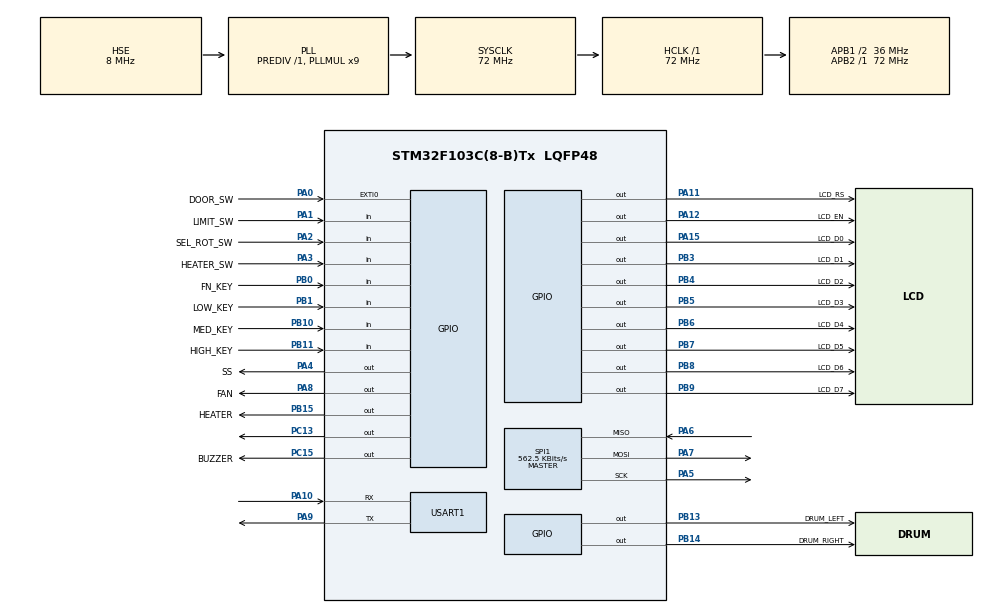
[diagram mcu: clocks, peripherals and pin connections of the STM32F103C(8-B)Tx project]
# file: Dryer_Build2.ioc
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Mcu.Family=STM32F1
Mcu.Name=STM32F103C(8-B)Tx
Mcu.Package=LQFP48
NVIC.EXTI0_IRQn=true\:0\:0\:false\:false\:true\:true\:true\:true
NVIC.PriorityGroup=NVIC_PRIORITYGROUP_4
NVIC.TIM4_IRQn=true\:1\:0\:true\:false\:true\:true\:true\:true
PA0-WKUP.GPIO_Label=DOOR_SW
PA0-WKUP.GPIO_ModeDefaultEXTI=GPIO_MODE_IT_RISING_FALLING
PA0-WKUP.GPIO_PuPd=GPIO_PULLUP
PA0-WKUP.Signal=GPXTI0
PA1.GPIO_Label=LIMIT_SW
PA1.GPIO_PuPd=GPIO_PULLUP
PA1.Signal=GPIO_Input
PA10.Mode=Asynchronous
PA10.Signal=USART1_RX
PA11.GPIO_Label=LCD_RS
PA11.GPIO_PuPd=GPIO_PULLDOWN
PA11.GPIO_Speed=GPIO_SPEED_FREQ_HIGH
PA11.PinState=GPIO_PIN_RESET
PA11.Signal=GPIO_Output
PA12.GPIO_Label=LCD_EN
PA12.GPIO_PuPd=GPIO_PULLDOWN
PA12.GPIO_Speed=GPIO_SPEED_FREQ_HIGH
PA12.PinState=GPIO_PIN_RESET
PA12.Signal=GPIO_Output
PA13.Mode=Serial_Wire
PA13.Signal=SYS_JTMS-SWDIO
PA14.Mode=Serial_Wire
PA14.Signal=SYS_JTCK-SWCLK
PA15.GPIO_Label=LCD_D0
PA15.GPIO_PuPd=GPIO_PULLDOWN
PA15.GPIO_Speed=GPIO_SPEED_FREQ_HIGH
PA15.Signal=GPIO_Output
PA2.GPIO_Label=SEL_ROT_SW
PA2.GPIO_PuPd=GPIO_PULLUP
PA2.Signal=GPIO_Input
PA3.GPIO_Label=HEATER_SW
PA3.GPIO_PuPd=GPIO_PULLUP
PA3.Signal=GPIO_Input
PA4.GPIO_Label=SS
PA4.GPIO_PuPd=GPIO_PULLDOWN
PA4.GPIO_Speed=GPIO_SPEED_FREQ_HIGH
PA4.Signal=GPIO_Output
PA5.Mode=Full_Duplex_Master
PA5.Signal=SPI1_SCK
PA6.Mode=Full_Duplex_Master
PA6.Signal=SPI1_MISO
PA7.Mode=Full_Duplex_Master
PA7.Signal=SPI1_MOSI
PA8.GPIO_Label=FAN
PA8.GPIO_PuPd=GPIO_PULLDOWN
PA8.Signal=GPIO_Output
PA9.Mode=Asynchronous
PA9.Signal=USART1_TX
PB0.GPIO_Label=FN_KEY
PB0.GPIO_PuPd=GPIO_PULLUP
PB0.Signal=GPIO_Input
PB1.GPIO_Label=LOW_KEY
PB1.GPIO_PuPd=GPIO_PULLUP
PB1.Signal=GPIO_Input
PB10.GPIO_Label=MED_KEY
PB10.GPIO_PuPd=GPIO_PULLUP
PB10.Signal=GPIO_Input
PB11.GPIO_Label=HIGH_KEY
PB11.GPIO_PuPd=GPIO_PULLUP
PB11.Signal=GPIO_Input
PB13.GPIO_Label=DRUM_LEFT
PB13.GPIO_PuPd=GPIO_PULLDOWN
PB13.Signal=GPIO_Output
PB14.GPIO_Label=DRUM_RIGHT
PB14.GPIO_PuPd=GPIO_PULLDOWN
PB14.Signal=GPIO_Output
PB15.GPIO_Label=HEATER
PB15.GPIO_PuPd=GPIO_PULLDOWN
PB15.Signal=GPIO_Output
PB3.GPIO_Label=LCD_D1
PB3.GPIO_PuPd=GPIO_PULLDOWN
PB3.GPIO_Speed=GPIO_SPEED_FREQ_HIGH
PB3.Signal=GPIO_Output
PB4.GPIO_Label=LCD_D2
PB4.GPIO_PuPd=GPIO_PULLDOWN
PB4.GPIO_Speed=GPIO_SPEED_FREQ_HIGH
PB4.Signal=GPIO_Output
PB5.GPIO_Label=LCD_D3
PB5.GPIO_PuPd=GPIO_PULLDOWN
PB5.GPIO_Speed=GPIO_SPEED_FREQ_HIGH
PB5.Signal=GPIO_Output
PB6.GPIO_Label=LCD_D4
PB6.GPIO_PuPd=GPIO_PULLDOWN
PB6.GPIO_Speed=GPIO_SPEED_FREQ_HIGH
PB6.Signal=GPIO_Output
PB7.GPIO_Label=LCD_D5
PB7.GPIO_PuPd=GPIO_PULLDOWN
PB7.GPIO_Speed=GPIO_SPEED_FREQ_HIGH
PB7.Signal=GPIO_Output
PB8.GPIO_Label=LCD_D6
PB8.GPIO_PuPd=GPIO_PULLDOWN
PB8.GPIO_Speed=GPIO_SPEED_FREQ_HIGH
PB8.PinState=GPIO_PIN_RESET
PB8.Signal=GPIO_Output
PB9.GPIO_Label=LCD_D7
PB9.GPIO_PuPd=GPIO_PULLDOWN
PB9.GPIO_Speed=GPIO_SPEED_FREQ_HIGH
PB9.Signal=GPIO_Output
PC13-TAMPER-RTC.PinState=GPIO_PIN_SET
PC13-TAMPER-RTC.Signal=GPIO_Output
PC15-OSC32_OUT.GPIO_Label=BUZZER
PC15-OSC32_OUT.GPIO_PuPd=GPIO_PULLDOWN
PC15-OSC32_OUT.Signal=GPIO_Output
PD0-OSC_IN.Mode=HSE-External-Oscillator
PD0-OSC_IN.Signal=RCC_OSC_IN
PD1-OSC_OUT.Mode=HSE-External-Oscillator
PD1-OSC_OUT.Signal=RCC_OSC_OUT
ProjectManager.HeapSize=0x200
ProjectManager.StackSize=0x400
ProjectManager.TargetToolchain=STM32CubeIDE
RCC.AHBFreq_Value=72000000
RCC.APB1CLKDivider=RCC_HCLK_DIV2
RCC.APB1Freq_Value=36000000
RCC.APB1TimFreq_Value=72000000
RCC.APB2Freq_Value=72000000
RCC.APB2TimFreq_Value=72000000
RCC.HCLKFreq_Value=72000000
RCC.PLLMUL=RCC_PLL_MUL9
RCC.PLLSourceVirtual=RCC_PLLSOURCE_HSE
RCC.SYSCLKFreq_VALUE=72000000
RCC.SYSCLKSource=RCC_SYSCLKSOURCE_PLLCLK
RCC.USBFreq_Value=72000000
SPI1.BaudRatePrescaler=SPI_BAUDRATEPRESCALER_128
SPI1.CalculateBaudRate=562.5 KBits/s
SPI1.Direction=SPI_DIRECTION_2LINES
SPI1.Mode=SPI_MODE_MASTER
SPI1.VirtualType=VM_MASTER
TIM4.AutoReloadPreload=TIM_AUTORELOAD_PRELOAD_DISABLE
TIM4.CounterMode=TIM_COUNTERMODE_UP
TIM4.Period=10000-1
TIM4.Prescaler=7200
TIM4.TIM_MasterOutputTrigger=TIM_TRGO_UPDATE
USART1.VirtualMode=VM_ASYNC
VP_TIM4_VS_ClockSourceINT.Mode=Internal
board=custom

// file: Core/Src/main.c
/* USER CODE BEGIN Header */
/**
 ******************************************************************************
 * @file           : main.c
 * @brief          : Main program body
 ******************************************************************************
 * @attention
 *
 * Copyright (c) 2023 STMicroelectronics.
 * All rights reserved.
 *
 * This software is licensed under terms that can be found in the LICENSE file
 * in the root directory of this software component.
 * If no LICENSE file comes with this software, it is provided AS-IS.
 *
 ******************************************************************************
 */
/* USER CODE END Header */
#include "main.h"
#include "spi.h"
#include "tim.h"
#include "usart.h"
#include "gpio.h"

/* USER CODE BEGIN Includes */
#include "machine.h"
#include "eeprom.h"
/* USER CODE END Includes */

/* USER CODE BEGIN PTD */
typedef enum {
	CURSOR_DISABLE, SET_HEAT_TIMER, SET_COOL_TIMER, SET_TEMP,
} Cursor_Pos_t;

/* USER CODE END PTD */

/* USER CODE BEGIN PV */
uint16_t VirtAddVarTab[10];
uint16_t val_arr[10] = { 600, 300, 40, 1200, 300, 70, 1800, 300, 90, 0 };
uint16_t VarIndex;

MachineInit_t dryer;

uint8_t door_open_flag = 0U; //Indicates Door open or close (1 for open, 0 for close)
uint8_t door_open_evt = 0U; //to excecute door open routine once

uint8_t timer_stop_evt = 0U; //to stop timer routine once
uint8_t timer_start_evt = 0U; //to start timer routine once

uint8_t buzzer_evt = 0U; //to excecute buzzer routine once

uint8_t lcd_update_evt = 0U; //to excecute LCD Update routine once

uint8_t op_update_evt = 0U; //to excecute Output Update routine once

uint8_t limit_timeout = 30U; //to store limit switch timeout default value
uint8_t limit_timeout_flag = 0U; //Indicates Limit Switch Timeout

uint8_t coil_open_flag = 0U; //Indicates Heater Coil open or close (1 for open, 0 for close)

uint8_t rot_left_cunt = 30U; //to store left side count value
uint8_t rot_right_cunt = 0U; //to store right side count value
uint8_t pasue_cunt = 0U; //to store delay count value for flip-flop

uint8_t rot_sw_state = 0U; //to store Rotation Select Switch
uint8_t flipflop = 0U; //to store Flip-Flop state 0 for L-to-R, 1 for R-to-L

int cur_temp = -1; //to store current temperature value
uint8_t otp = 1; //not in use
uint8_t scaned_key = NO_KEY_PRESSED; //to store any key pressed value

LCDPageTypeDef cur_page; //Current Page of LCD
LCDPageTypeDef last_page; //Store Last Page Recored

/* USER CODE END PV */

void SystemClock_Config(void);

/* USER CODE BEGIN 0 */
/*For Debug use printf to Print data on UART*/
int __io_putchar(int ch) {
	HAL_UART_Transmit(&huart1, (uint8_t*) &ch, 1, 10);
	return ch;
}

void setting_root_page(void) {
	printf("Setting Mode\r\n");

	Cursor_Pos_t cursor_pos = CURSOR_DISABLE;
	cur_page = SETTING_PAGE;
	lcd_update_evt = 1;

	while (1) {

		if (lcd_update_evt) {
			//printf("Page: %d\r\n",cur_page);
			lcd_update();
			if(cursor_pos == CURSOR_DISABLE){
				lcd_cursor(0);
			}else if(cursor_pos == SET_HEAT_TIMER){
				lcd_set_cursor(3, 0);
				lcd_cursor(1);
			}else if(cursor_pos == SET_COOL_TIMER){
				lcd_set_cursor(12, 0);
				lcd_cursor(1);
			}else if(cursor_pos == SET_TEMP){
				lcd_set_cursor(-1, 2);
				lcd_cursor(1);
			}
			lcd_update_evt = 0U;
		}

		if (cur_page == SETTING_PAGE) {
			scaned_key = scan_keypad();
			switch (scaned_key) {
			case NO_KEY_PRESSED:
				break;

			case LOW_KEY_PRESSED:
				dryer.mode = LOW_LEVEL;
				dryer.heatTime = val_arr[0];
				dryer.coolTime = val_arr[1];
				dryer.setTemp = val_arr[2];
				cur_page = LOW_LEVEL_PAGE;
				cursor_pos = SET_HEAT_TIMER;
				lcd_update_evt = 1U;
				op_update_evt = 1U;
				printf("LOW LEVEL\r\n");
				break;

			case MED_KEY_PRESSED:
				dryer.mode = MED_LEVEL;
				dryer.heatTime = val_arr[3];
				dryer.coolTime = val_arr[4];
				dryer.setTemp = val_arr[5];
				cur_page = MED_LEVEL_PAGE;
				cursor_pos = SET_HEAT_TIMER;
				lcd_update_evt = 1U;
				op_update_evt = 1U;
				printf("MED_LEVEL\r\n");
				break;

			case HIGH_KEY_PRESSED:
				dryer.mode = HIGH_LEVEL;
				dryer.heatTime = val_arr[6];
				dryer.coolTime = val_arr[7];
				dryer.setTemp = val_arr[8];
				cur_page = HIGH_LEVEL_PAGE;
				cursor_pos = SET_HEAT_TIMER;
				lcd_update_evt = 1U;
				op_update_evt = 1U;
				printf("HIGH_LEVEL\r\n");
				break;

			case FN_KEY_PRESSED:
				/*Cancel Function*/
				return;
			}
			scaned_key = NO_KEY_PRESSED;
		} else {
			scaned_key = scan_keypad();
			switch (scaned_key) {
			case NO_KEY_PRESSED:
				break;
			case LOW_KEY_PRESSED:
				if ((cursor_pos == SET_HEAT_TIMER) && (dryer.heatTime > 60U)) {
					lcd_update_evt = 1;
					dryer.heatTime -= 60U;
				} else if ((cursor_pos == SET_COOL_TIMER)
						&& (dryer.coolTime > 60U)) {
					lcd_update_evt = 1;
					dryer.coolTime -= 60U;
				} else if ((cursor_pos == SET_TEMP) && (dryer.setTemp > 30U)) {
					lcd_update_evt = 1;
					dryer.setTemp -= 1U;
				}
				break;
			case MED_KEY_PRESSED:
				/*Roll Back*/
				if (cursor_pos == SET_TEMP) {
					lcd_update_evt = 1;
					cursor_pos = SET_HEAT_TIMER;
				} else {
					lcd_update_evt = 1;
					cursor_pos++;
				}
				break;
			case HIGH_KEY_PRESSED:
				if ((cursor_pos == SET_HEAT_TIMER)
						&& (dryer.heatTime < 3600U)) {
					dryer.heatTime += 60U;
					lcd_update_evt = 1;
				} else if ((cursor_pos == SET_COOL_TIMER)
						&& (dryer.coolTime < 3600U)) {
					dryer.coolTime += 60U;
					lcd_update_evt = 1;
				} else if ((cursor_pos == SET_TEMP) && (dryer.setTemp < 90U)) {
					dryer.setTemp += 1U;
					lcd_update_evt = 1;
				}
				break;
			case FN_KEY_PRESSED:
				/*TODO Cancel Function*/
				/*
				 * Save data
				 * go to setting mode page
				 */
				cur_page = SETTING_PAGE;
				cursor_pos = CURSOR_DISABLE;
				lcd_update_evt = 1;

				if (dryer.mode == LOW_LEVEL) {
					val_arr[0] = dryer.heatTime;
					val_arr[1] = dryer.coolTime;
					val_arr[2] = dryer.setTemp;

					for (VarIndex = 0; VarIndex < 3; VarIndex++) {
						/* Sequence 1 */
						if ((EE_WriteVariable(VirtAddVarTab[VarIndex],
								val_arr[VarIndex])) != HAL_OK) {
							Error_Handler();
						}
					}

				} else if (dryer.mode == MED_LEVEL) {
					val_arr[3] = dryer.heatTime;
					val_arr[4] = dryer.coolTime;
					val_arr[5] = dryer.setTemp;

					for (VarIndex = 3; VarIndex < 6; VarIndex++) {
						/* Sequence 2 */
						if ((EE_WriteVariable(VirtAddVarTab[VarIndex],
								val_arr[VarIndex])) != HAL_OK) {
							Error_Handler();
						}

					}
				} else if (dryer.mode == HIGH_LEVEL) {
					val_arr[6] = dryer.heatTime;
					val_arr[7] = dryer.coolTime;
					val_arr[8] = dryer.setTemp;

					for (VarIndex = 6; VarIndex < 9; VarIndex++) {
						/* Sequence 3 */
						if ((EE_WriteVariable(VirtAddVarTab[VarIndex],
								val_arr[VarIndex])) != HAL_OK) {
							Error_Handler();
						}
					}
				}
				break;
			}
			scaned_key = NO_KEY_PRESSED;
		}
	}
}

/* USER CODE END 0 */

int main(void) {

	/* MCU Configuration--------------------------------------------------------*/

	/* Reset of all peripherals, Initializes the Flash interface and the Systick. */
	HAL_Init();

	/* Configure the system clock */
	SystemClock_Config();

	/* Initialize all configured peripherals */
	MX_GPIO_Init();
	MX_USART1_UART_Init();
	MX_TIM4_Init();
	MX_SPI1_Init();
	/* USER CODE BEGIN 2 */
	HAL_FLASH_Unlock();

	/* EEPROM Init */
	if (EE_Init() != HAL_OK) {
		Error_Handler();
	}

// Fill EEPROM variables addresses
	for (VarIndex = 1; VarIndex <= 10; VarIndex++) {
		VirtAddVarTab[VarIndex - 1] = VarIndex;
	}

	uint16_t data_write = 0;
	if ((EE_ReadVariable(VirtAddVarTab[9], (uint16_t*) &data_write))
			!= HAL_OK) {
		data_write = 1U;
	}

	if (data_write == 1U) {
		printf("Writing.....\r\n");
		for (VarIndex = 0; VarIndex < 10; VarIndex++) {
			if ((EE_WriteVariable(VirtAddVarTab[VarIndex], val_arr[VarIndex]))
					!= HAL_OK) {
				Error_Handler();
			}
		}
	}

//	// Store Values in EEPROM emulation
//	for (VarIndex = 0; VarIndex < 9; VarIndex++) {
//		/* Sequence 1 */
//		if ((EE_WriteVariable(VirtAddVarTab[VarIndex], val_arr[VarIndex]))
//				!= HAL_OK) {
//			Error_Handler();
//		}
//	}
//
// Read values

	for (VarIndex = 0; VarIndex < 10; VarIndex++) {
		if ((EE_ReadVariable(VirtAddVarTab[VarIndex],
				(uint16_t*) &val_arr[VarIndex])) != HAL_OK) {
			printf("EEPROM Read Error\r\n");
			Error_Handler();
		}
	}

	for (VarIndex = 0; VarIndex < 10; VarIndex++) {
		printf("%d -----> %d\r\n", VirtAddVarTab[VarIndex],
				val_arr[VarIndex]);
	}

	lcd_init(0);
	lcd_begin(16, 4, 0);

	lcd_logo();

	unsigned int current_time = HAL_GetTick();
	unsigned int btn_current_time = HAL_GetTick();

	while (HAL_GetTick() - current_time < 3000U) {
		uint8_t btn_state = HAL_GPIO_ReadPin(FN_KEY_GPIO_Port, FN_KEY_Pin);
		if (btn_state == LOW) {
			if (HAL_GetTick() - btn_current_time > 2000) {
				setting_root_page();
			}
		} else {
			btn_current_time = HAL_GetTick();
		}
	}

	for (VarIndex = 0; VarIndex < 10; VarIndex++) {
		if ((EE_ReadVariable(VirtAddVarTab[VarIndex],
				(uint16_t*) &val_arr[VarIndex])) != HAL_OK) {
			printf("EEPROM Read Error\r\n");
			Error_Handler();
		}
	}

	dryer.state = INIT;
	dryer.mode = NO_MODE;

	if (HAL_GPIO_ReadPin(DOOR_SW_GPIO_Port, DOOR_SW_Pin) == HIGH) {
		door_open_flag = 1U;
		cur_page = DOOR_OPEN_PAGE;
	} else {
		cur_page = INIT_PAGE;
	}

	lcd_clear();
	lcd_update();
	/* USER CODE END 2 */

	/* Infinite loop */
	while (1) {

		/* USER CODE BEGIN 3 */
		/**********************************************************************************************************
		 **************************************** LCD SCREEN UPDATE RUTINE ****************************************
		 **********************************************************************************************************/
		if (lcd_update_evt) {
			//printf("Page: %d\r\n",cur_page);
			lcd_update();
			lcd_update_evt = 0U;
		}

		/***************************************************************************************************************
		 ******************************************* TIMER EVENT RUTINE ************************************************
		 ***************************************************************************************************************/
		if (timer_stop_evt) {
			//printf("Timer Stoped\r\n");
			HAL_TIM_Base_Stop_IT(&htim4);
			timer_stop_evt = 0;

		} else if ((timer_start_evt) && (dryer.state == START)) {
			//printf("Timer Started\r\n");
			HAL_TIM_Base_Start_IT(&htim4);
			timer_start_evt = 0;
		}

		/***************************************************************************************************************
		 ********************************************* KEYBOARD SCANNING ***********************************************
		 ********************************** INCREMENT DECREMENT OF TIMER AND MODE SET **********************************
		 ***************************************************************************************************************/
		if (!door_open_flag && !coil_open_flag && !limit_timeout_flag) {
			//printf("Scaning...\r\n");
			scaned_key = scan_keypad();

			if (dryer.state == START) {

				switch (scaned_key) {
				case NO_KEY_PRESSED:
					break;
				case LOW_KEY_PRESSED:
					lcd_update_evt = 1U;
					if (dryer.cycle == HEAT_CYCLE && dryer.heatTime > 60U) {
						dryer.heatTime -= 60U;
						printf("HeatTime = %d\r\n", dryer.heatTime);
					} else if (dryer.cycle == COOL_CYCLE
							&& dryer.coolTime > 60U) {
						dryer.coolTime -= 60U;
						printf("CoolTime = %d\r\n", dryer.coolTime);
					}
					break;
				case MED_KEY_PRESSED:
					lcd_update_evt = 1U;
					dryer.state = INIT;
					dryer.mode = NO_MODE;
					cur_page = INIT_PAGE;
					timer_stop_evt = 1U;
					HAL_GPIO_WritePin(BUZZER_GPIO_Port, BUZZER_Pin, LOW);
					HAL_GPIO_WritePin(FAN_GPIO_Port, FAN_Pin, LOW);
					HAL_GPIO_WritePin(DRUM_LEFT_GPIO_Port, DRUM_LEFT_Pin,
					LOW);
					HAL_GPIO_WritePin(DRUM_RIGHT_GPIO_Port, DRUM_RIGHT_Pin,
					LOW);
					HAL_GPIO_WritePin(HEATER_GPIO_Port, HEATER_Pin, LOW);
					break;
				case HIGH_KEY_PRESSED:
					lcd_update_evt = 1U;
					if (dryer.cycle == HEAT_CYCLE) {
						if (dryer.mode == LOW_LEVEL) {
							if (dryer.heatTime < 1800U) {
								dryer.heatTime += 60U;
							}
						} else if (dryer.mode == MED_LEVEL) {
							if (dryer.heatTime < 2400U) {
								dryer.heatTime += 60U;
							}
						} else if (dryer.mode == HIGH_LEVEL) {
							if (dryer.heatTime < 3000U) {
								dryer.heatTime += 60U;
							}
						}
						printf("HeatTime = %d\r\n", dryer.heatTime);
					} else if (dryer.cycle == COOL_CYCLE) {
						if (dryer.coolTime < 900U)
							dryer.coolTime += 60U;
						printf("CoolTime = %d\r\n", dryer.coolTime);
					}
					break;
				case FN_KEY_PRESSED:
					lcd_update_evt = 1U;
					dryer.heatTime = 0U;
					dryer.cycle = COOL_CYCLE;
					printf("HeatTime = %d\r\n", dryer.heatTime);
					printf("CoolTime = %d\r\n", dryer.coolTime);
					break;
				}
				scaned_key = NO_KEY_PRESSED;
			} else if (dryer.state == INIT) {

				switch (scaned_key) {
				case NO_KEY_PRESSED:
					break;

				case LOW_KEY_PRESSED:
					dryer.state = START;
					dryer.mode = LOW_LEVEL;
					dryer.heatTime = val_arr[0];
					dryer.coolTime = val_arr[1];
					dryer.setTemp = val_arr[2];
					dryer.beepTime = 30U;
					dryer.cycle = HEAT_CYCLE;
					rot_left_cunt = 30U;
					rot_right_cunt = 0U;
					pasue_cunt = 0U;
					timer_start_evt = 1U;
					cur_page = LOW_LEVEL_PAGE;
					lcd_update_evt = 1U;
					op_update_evt = 1U;
					printf("LOW LEVEL\r\n");
					break;

				case MED_KEY_PRESSED:
					dryer.state = START;
					dryer.mode = MED_LEVEL;
					dryer.heatTime = val_arr[3];
					dryer.coolTime = val_arr[4];
					dryer.setTemp = val_arr[5];
					dryer.beepTime = 30U;
					dryer.cycle = HEAT_CYCLE;
					rot_left_cunt = 30U;
					rot_right_cunt = 0U;
					pasue_cunt = 0U;
					timer_start_evt = 1U;
					cur_page = MED_LEVEL_PAGE;
					lcd_update_evt = 1U;
					op_update_evt = 1U;
					printf("MED_LEVEL\r\n");
					break;

				case HIGH_KEY_PRESSED:
					dryer.state = START;
					dryer.mode = HIGH_LEVEL;
					dryer.heatTime = val_arr[6];
					dryer.coolTime = val_arr[7];
					dryer.setTemp = val_arr[8];
					dryer.beepTime = 30U;
					dryer.cycle = HEAT_CYCLE;
					rot_left_cunt = 30U;
					rot_right_cunt = 0U;
					pasue_cunt = 0U;
					timer_start_evt = 1U;
					cur_page = HIGH_LEVEL_PAGE;
					lcd_update_evt = 1U;
					op_update_evt = 1U;
					printf("HIGH_LEVEL\r\n");
					break;
				}
				scaned_key = NO_KEY_PRESSED;
			} else if (dryer.state == COMPLETE) {
				if (scaned_key == MED_KEY_PRESSED) {
					lcd_update_evt = 1U;
					dryer.state = INIT;
					dryer.mode = NO_MODE;
					cur_page = INIT_PAGE;
					timer_stop_evt = 1U;
					HAL_GPIO_WritePin(BUZZER_GPIO_Port, BUZZER_Pin, LOW);
					HAL_GPIO_WritePin(FAN_GPIO_Port, FAN_Pin, LOW);
					HAL_GPIO_WritePin(DRUM_LEFT_GPIO_Port, DRUM_LEFT_Pin,
					LOW);
					HAL_GPIO_WritePin(DRUM_RIGHT_GPIO_Port, DRUM_RIGHT_Pin,
					LOW);
					HAL_GPIO_WritePin(HEATER_GPIO_Port, HEATER_Pin, LOW);
				}
				scaned_key = NO_KEY_PRESSED;
			}
		}

		if (door_open_evt) {
			static volatile uint8_t temp_pin_state = 0U;

			temp_pin_state = HAL_GPIO_ReadPin(DOOR_SW_GPIO_Port,
			DOOR_SW_Pin);
//printf("Pin: %d\r\n",temp_pin_state);

			if (temp_pin_state == HIGH) {

				if (dryer.state == COMPLETE) {
					timer_stop_evt = 1U;
					dryer.beepTime = 0U;
					dryer.state = INIT;
					dryer.mode = NO_MODE;
				}

				door_open_flag = 1U;
				timer_stop_evt = 1U;
				cur_page = DOOR_OPEN_PAGE;
				lcd_update_evt = 1U;
				dryer.state = STOP;

				HAL_GPIO_WritePin(BUZZER_GPIO_Port, BUZZER_Pin, LOW);
				HAL_GPIO_WritePin(FAN_GPIO_Port, FAN_Pin, LOW);
				HAL_GPIO_WritePin(DRUM_LEFT_GPIO_Port, DRUM_LEFT_Pin, LOW);
				HAL_GPIO_WritePin(DRUM_RIGHT_GPIO_Port, DRUM_RIGHT_Pin,
				LOW);
				HAL_GPIO_WritePin(HEATER_GPIO_Port, HEATER_Pin, LOW);

			} else {
				if (!limit_timeout_flag) {
					switch (dryer.mode) {
					case NO_MODE:
						cur_page = INIT_PAGE;
						dryer.state = INIT;
						break;
					case LOW_LEVEL:
						cur_page = LOW_LEVEL_PAGE;
						dryer.state = START;
						timer_start_evt = 1U;
						break;
					case MED_LEVEL:
						cur_page = MED_LEVEL_PAGE;
						dryer.state = START;
						timer_start_evt = 1U;
						break;
					case HIGH_LEVEL:
						cur_page = HIGH_LEVEL_PAGE;
						dryer.state = START;
						timer_start_evt = 1U;
						break;
					}
				} else
					cur_page = LIMIT_SW_ERR_PAGE;
				lcd_update_evt = 1U;
				door_open_flag = 0U;
			}
			door_open_evt = 0U;
		}

		/*************************************************************************************************************
		 *************************************************HERTER COIL CHECK*******************************************
		 *************************************************************************************************************/
		if (!door_open_flag && !limit_timeout_flag && dryer.state != COMPLETE) {

			if (is_coil_open()) {

				coil_open_flag = 1U;
				timer_stop_evt = 1U;
				cur_page = HEATER_COIL_PAGE;
				lcd_update_evt = 1U;
				dryer.state = STOP;

				HAL_GPIO_WritePin(BUZZER_GPIO_Port, BUZZER_Pin, LOW);
				HAL_GPIO_WritePin(FAN_GPIO_Port, FAN_Pin, LOW);
				HAL_GPIO_WritePin(DRUM_LEFT_GPIO_Port, DRUM_LEFT_Pin, LOW);
				HAL_GPIO_WritePin(DRUM_RIGHT_GPIO_Port, DRUM_RIGHT_Pin,
				LOW);
				HAL_GPIO_WritePin(HEATER_GPIO_Port, HEATER_Pin, LOW);

			} else {
				coil_open_flag = 0U;
				if (dryer.state == STOP) {
					switch (dryer.mode) {
					case NO_MODE:
						cur_page = INIT_PAGE;
						dryer.state = INIT;
						break;
					case LOW_LEVEL:
						cur_page = LOW_LEVEL_PAGE;
						dryer.state = START;
						timer_start_evt = 1U;
						break;
					case MED_LEVEL:
						cur_page = MED_LEVEL_PAGE;
						dryer.state = START;
						timer_start_evt = 1U;
						break;
					case HIGH_LEVEL:
						cur_page = HIGH_LEVEL_PAGE;
						dryer.state = START;
						timer_start_evt = 1U;
						break;
					}
					lcd_update_evt = 1U;
				}
			}
		}

		/***************************************************************************************************************
		 ******************************************* LIMIT SWITCH ERROR RUTINE ************************************************
		 ***************************************************************************************************************/
		if (!door_open_flag && !coil_open_flag && !limit_timeout_flag) {
			if (dryer.state == START && limit_timeout == 0U) {
				limit_timeout_flag = 1U;
				lcd_update_evt = 1U;
				timer_stop_evt = 1U;

				dryer.state = STOP;
				dryer.mode = NO_MODE;
				cur_page = LIMIT_SW_ERR_PAGE;

				HAL_GPIO_WritePin(BUZZER_GPIO_Port, BUZZER_Pin, LOW);
				HAL_GPIO_WritePin(FAN_GPIO_Port, FAN_Pin, LOW);
				HAL_GPIO_WritePin(DRUM_LEFT_GPIO_Port, DRUM_LEFT_Pin, LOW);
				HAL_GPIO_WritePin(DRUM_RIGHT_GPIO_Port, DRUM_RIGHT_Pin,
				LOW);
				HAL_GPIO_WritePin(HEATER_GPIO_Port, HEATER_Pin, LOW);
			}
		} else if (!door_open_flag && !coil_open_flag && limit_timeout_flag) {
			scaned_key = scan_keypad();
			if (scaned_key == MED_KEY_PRESSED) {
				dryer.state = INIT;
				cur_page = INIT_PAGE;
				limit_timeout = 30U;
				lcd_update_evt = 1U;
				limit_timeout_flag = 0U;
			}
		}

		/**********************************************************************************************************
		 *********************** CONTROL MACHINE IN START/STOP/COMPLETE PROCESS STATE *****************************
		 * @START STATE
		 * 		->CONTROLS FAN, DRUM MOTORS, HEATER SWTICH
		 * 		->READ TEMPRETURE AND MAINTAIN HEATER
		 * @COMPLETE STATE
		 * 		->TURNS OFF FAN, DRUM MOTORS, HEATER
		 * 		->TRUNS ON/OFF BEEP EVERY 3s FOR 30s
		 * 		->WATCHS DOOR OPEN
		 **********************************************************************************************************/
		if (!door_open_flag && !coil_open_flag && !limit_timeout_flag
				&& op_update_evt) {

			if (dryer.state == START) {

				HAL_GPIO_WritePin(FAN_GPIO_Port, FAN_Pin, HIGH);

//				 if (otp) {
//				 	printf("HeaterTime = %d\r\n", dryer.heatTime);
//				 	printf("CoolTime = %d\r\n", dryer.coolTime);
//				 	printf("ROT_LEFT = %d\r\n", rot_left_cunt);
//				 	printf("PASUE = %d\r\n", pasue_cunt);
//				 	printf("ROT_RIGHT = %d\r\n", rot_right_cunt);
//				 	otp = 0;
//				 }

				//start Flip Flop
				if (pasue_cunt > 0) {
					HAL_GPIO_WritePin(DRUM_LEFT_GPIO_Port, DRUM_LEFT_Pin,
					LOW);
					HAL_GPIO_WritePin(DRUM_RIGHT_GPIO_Port, DRUM_RIGHT_Pin,
					LOW);
				} else if (rot_left_cunt > 0) {
					HAL_GPIO_WritePin(DRUM_LEFT_GPIO_Port, DRUM_LEFT_Pin,
					HIGH);
					HAL_GPIO_WritePin(DRUM_RIGHT_GPIO_Port, DRUM_RIGHT_Pin,
					LOW);
				} else if (rot_right_cunt > 0) {
					HAL_GPIO_WritePin(DRUM_LEFT_GPIO_Port, DRUM_LEFT_Pin,
					LOW);
					HAL_GPIO_WritePin(DRUM_RIGHT_GPIO_Port, DRUM_RIGHT_Pin,
					HIGH);
				}

				cur_temp = (int) Max6675_Read_Temp(); //takes time
				//Maintain Heater
				if (dryer.cycle == HEAT_CYCLE && !limit_sw_open()) {
					if (cur_temp == -1 || cur_temp == 0) {
						HAL_GPIO_WritePin(HEATER_GPIO_Port, HEATER_Pin,
						LOW);
					} else if ((cur_temp > (dryer.setTemp + 2))
							|| (cur_temp <= 0)) {
						HAL_GPIO_WritePin(HEATER_GPIO_Port, HEATER_Pin,
						LOW);
					} else if ((cur_temp < (dryer.setTemp - 5))
							&& (cur_temp > 0)) {
						HAL_GPIO_WritePin(HEATER_GPIO_Port, HEATER_Pin,
						HIGH);
					}
				} else {
					HAL_GPIO_WritePin(HEATER_GPIO_Port, HEATER_Pin, LOW);
				}
			} else if (dryer.state == COMPLETE) {

				if (dryer.beepTime == 0) {
					HAL_GPIO_WritePin(BUZZER_GPIO_Port, BUZZER_Pin, LOW);
					cur_page = INIT_PAGE;
					lcd_update_evt = 1U;
					timer_stop_evt = 1U;
					dryer.state = INIT;
					dryer.mode = NO_MODE;
				} else {
					HAL_GPIO_TogglePin(BUZZER_GPIO_Port, BUZZER_Pin);
				}
				HAL_GPIO_WritePin(FAN_GPIO_Port, FAN_Pin, LOW);
				HAL_GPIO_WritePin(DRUM_LEFT_GPIO_Port, DRUM_LEFT_Pin, LOW);
				HAL_GPIO_WritePin(DRUM_RIGHT_GPIO_Port, DRUM_RIGHT_Pin,
				LOW);
				HAL_GPIO_WritePin(HEATER_GPIO_Port, HEATER_Pin, LOW);

			} else {
				//beep off
				HAL_GPIO_WritePin(BUZZER_GPIO_Port, BUZZER_Pin, LOW);
				HAL_GPIO_WritePin(FAN_GPIO_Port, FAN_Pin, LOW);
				HAL_GPIO_WritePin(DRUM_LEFT_GPIO_Port, DRUM_LEFT_Pin, LOW);
				HAL_GPIO_WritePin(DRUM_RIGHT_GPIO_Port, DRUM_RIGHT_Pin,
				LOW);
				HAL_GPIO_WritePin(HEATER_GPIO_Port, HEATER_Pin, LOW);
			}
			op_update_evt = 0U;
		}
	}
	/* USER CODE END 3 */
}

void SystemClock_Config(void) {
	RCC_OscInitTypeDef RCC_OscInitStruct = { 0 };
	RCC_ClkInitTypeDef RCC_ClkInitStruct = { 0 };

	/** Initializes the RCC Oscillators according to the specified parameters
	 * in the RCC_OscInitTypeDef structure.
	 */
	RCC_OscInitStruct.OscillatorType = RCC_OSCILLATORTYPE_HSE;
	RCC_OscInitStruct.HSEState = RCC_HSE_ON;
	RCC_OscInitStruct.HSEPredivValue = RCC_HSE_PREDIV_DIV1;
	RCC_OscInitStruct.HSIState = RCC_HSI_ON;
	RCC_OscInitStruct.PLL.PLLState = RCC_PLL_ON;
	RCC_OscInitStruct.PLL.PLLSource = RCC_PLLSOURCE_HSE;
	RCC_OscInitStruct.PLL.PLLMUL = RCC_PLL_MUL9;
	if (HAL_RCC_OscConfig(&RCC_OscInitStruct) != HAL_OK) {
		Error_Handler();
	}

	/** Initializes the CPU, AHB and APB buses clocks
	 */
	RCC_ClkInitStruct.ClockType = RCC_CLOCKTYPE_HCLK | RCC_CLOCKTYPE_SYSCLK
			| RCC_CLOCKTYPE_PCLK1 | RCC_CLOCKTYPE_PCLK2;
	RCC_ClkInitStruct.SYSCLKSource = RCC_SYSCLKSOURCE_PLLCLK;
	RCC_ClkInitStruct.AHBCLKDivider = RCC_SYSCLK_DIV1;
	RCC_ClkInitStruct.APB1CLKDivider = RCC_HCLK_DIV2;
	RCC_ClkInitStruct.APB2CLKDivider = RCC_HCLK_DIV1;

	if (HAL_RCC_ClockConfig(&RCC_ClkInitStruct, FLASH_LATENCY_2) != HAL_OK) {
		Error_Handler();
	}
}

/* USER CODE BEGIN 4 */
void HAL_GPIO_EXTI_Callback(uint16_t GPIO_Pin) {
//	static volatile uint8_t temp_pin_state = 0U;
//otp = 1;
	if (GPIO_Pin == DOOR_SW_Pin) {
		NVIC_DisableIRQ(EXTI0_IRQn);

		door_open_flag = 1U;
		door_open_evt = 1U;

		NVIC_EnableIRQ(EXTI0_IRQn);
		//printf("Door_EXTI\r\n");
	}
}

void HAL_TIM_PeriodElapsedCallback(TIM_HandleTypeDef *htim) {

	//printf("Timer\r\n");

	if (dryer.heatTime > 0) {
		dryer.heatTime--;
	} else if (dryer.coolTime > 0) {
		dryer.coolTime--;
	} else if (dryer.state == COMPLETE) {
		dryer.beepTime--;
	}

	if ((dryer.heatTime == 0) && (dryer.cycle == HEAT_CYCLE)) {
		dryer.cycle = COOL_CYCLE;
	} else if ((dryer.coolTime == 0) && (dryer.cycle == COOL_CYCLE)) {
		//printf("Complete\r\n");
		dryer.state = COMPLETE;
		dryer.mode = NO_MODE;
		cur_page = COMPLETE_PAGE;
	}

	if (pasue_cunt > 0) {
		pasue_cunt--;
	} else if (rot_left_cunt > 0) {
		rot_left_cunt--;
		flipflop = 1;
	} else if (rot_right_cunt > 0) {
		rot_right_cunt--;
		flipflop = 0;
	} else {
		rot_sw_state = HAL_GPIO_ReadPin(SEL_ROT_SW_GPIO_Port,
		SEL_ROT_SW_Pin);
		if (rot_sw_state) {
			pasue_cunt = 0U;
			rot_left_cunt = 30U;
		} else {
			pasue_cunt = 3U;
			if (flipflop)
				rot_right_cunt = 30U;
			else
				rot_left_cunt = 30U;
		}
	}

	if (limit_sw_open() && (dryer.cycle == HEAT_CYCLE)) {
		if (limit_timeout > 0)
			limit_timeout--;
	} else {
		limit_timeout = 30U;
		limit_timeout_flag = 0U;
	}
//	otp = 1;
	op_update_evt = 1U;
	lcd_update_evt = 1U;
}

/* USER CODE END 4 */

void Error_Handler(void) {
	__disable_irq();
	while (1) {
	}
}
